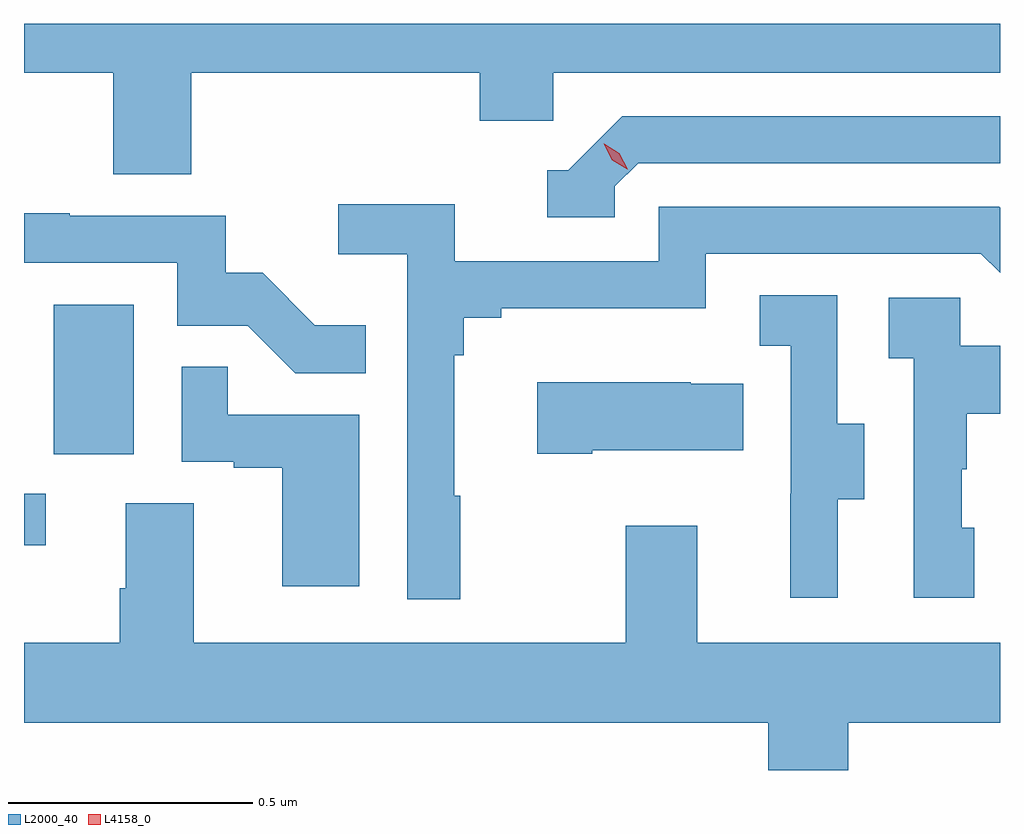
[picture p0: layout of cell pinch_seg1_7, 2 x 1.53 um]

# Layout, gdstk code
import gdstk
lib = gdstk.Library(unit=1e-6, precision=1e-09)
def R(c, l, rs):  # rectangles x0, y0, x1, y1
    for r in rs: c.add(gdstk.rectangle(r[:2], r[2:], *l))
def P(c, l, *ps):  # polygons
    for p in ps: c.add(gdstk.Polygon(p, *l))
L2000_40 = (2000, 40)
L4158_0 = (4158, 0)

pinch_seg1_7 = lib.new_cell('pinch_seg1_7')
R(pinch_seg1_7, L2000_40, [(1098.547,582.732,1098.592,582.837), (1098.608,582.918,1098.772,583.225)])
P(pinch_seg1_7, L2000_40, [(1098.89,583.7),(1099.481,583.7),(1099.481,583.602),(1099.632,583.602),(1099.632,583.7),(1100.547,583.7),(1100.547,583.8),(1098.547,583.8),(1098.547,583.7),(1098.73,583.7),(1098.73,583.492),(1098.89,583.492)],
  [(1099.758,583.467),(1099.806,583.515),(1100.547,583.515),(1100.547,583.611),(1099.773,583.611),(1099.662,583.5),(1099.619,583.5),(1099.619,583.404),(1099.758,583.404)],
  [(1099.441,582.833),(1099.429,582.833),(1099.429,583.121),(1099.448,583.121),(1099.448,583.198),(1099.525,583.198),(1099.525,583.217),(1099.944,583.217),(1099.944,583.329),(1100.508,583.329),(1100.547,583.29),(1100.547,583.423),(1100.545,583.425),(1099.848,583.425),(1099.848,583.314),(1099.43,583.314),(1099.43,583.43),(1099.191,583.43),(1099.191,583.328),(1099.332,583.328),(1099.332,582.621),(1099.441,582.621)],
  [(1099.247,583.183),(1099.143,583.183),(1099.036,583.29),(1098.96,583.29),(1098.96,583.407),(1098.641,583.407),(1098.641,583.412),(1098.547,583.412),(1098.547,583.311),(1098.861,583.311),(1098.861,583.182),(1099.005,583.182),(1099.103,583.084),(1099.247,583.084)],
  [(1100.215,582.826),(1100.269,582.826),(1100.269,582.981),(1100.214,582.981),(1100.214,583.244),(1100.055,583.244),(1100.055,583.141),(1100.118,583.141),(1100.118,582.837),(1100.117,582.837),(1100.117,582.624),(1100.215,582.624)],
  [(1100.494,582.768),(1100.469,582.768),(1100.469,582.887),(1100.479,582.887),(1100.479,583.001),(1100.547,583.001),(1100.547,583.141),(1100.466,583.141),(1100.466,583.239),(1100.319,583.239),(1100.319,583.115),(1100.37,583.115),(1100.37,582.624),(1100.494,582.624)],
  [(1099.234,582.999),(1098.965,582.999),(1098.965,583.097),(1098.87,583.097),(1098.87,582.903),(1098.977,582.903),(1098.977,582.891),(1099.076,582.891),(1099.076,582.648),(1099.234,582.648)],
  [(1099.711,582.926),(1100.021,582.926),(1100.021,583.063),(1099.913,583.063),(1099.913,583.066),(1099.599,583.066),(1099.599,582.919),(1099.711,582.919)],
  [(1100.236,582.368),(1100.547,582.368),(1100.547,582.532),(1099.927,582.532),(1099.927,582.772),(1099.78,582.772),(1099.78,582.532),(1098.895,582.532),(1098.895,582.818),(1098.755,582.818),(1098.755,582.644),(1098.743,582.644),(1098.743,582.532),(1098.547,582.532),(1098.547,582.368),(1100.072,582.368),(1100.072,582.271),(1100.236,582.271)])
P(pinch_seg1_7, L4158_0, [(1099.783,583.502),(1099.752,583.521),(1099.735,583.554),(1099.735,583.554),(1099.736,583.554),(1099.767,583.535),(1099.784,583.502),(1099.784,583.502)])

lib.write_gds('pinch_seg1_7.gds')
